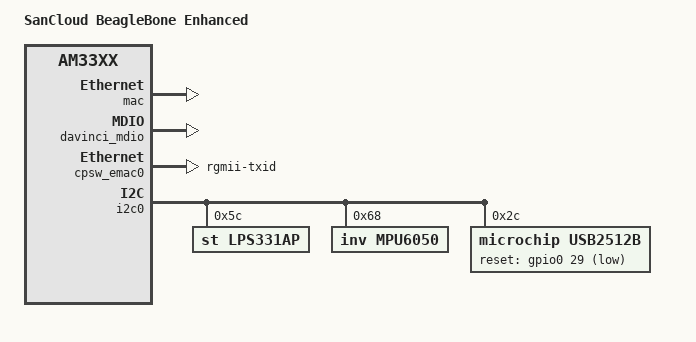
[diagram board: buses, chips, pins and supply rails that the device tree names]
/*
 * Copyright (C) 2012 Texas Instruments Incorporated - http://www.ti.com/
 *
 * This program is free software; you can redistribute it and/or modify
 * it under the terms of the GNU General Public License version 2 as
 * published by the Free Software Foundation.
 */
/dts-v1/;

#include "am33xx.dtsi"
#include "am335x-bone-common.dtsi"
#include "am335x-boneblack-common.dtsi"

/ {
	model = "SanCloud BeagleBone Enhanced";
	compatible = "sancloud,am335x-boneenhanced", "ti,am335x-bone-black", "ti,am335x-bone", "ti,am33xx";
};

&cpu0_opp_table {
	/*
	 * All PG 2.0 silicon may not support 1GHz but some of the early
	 * BeagleBone Blacks have PG 2.0 silicon which is guaranteed
	 * to support 1GHz OPP so enable it for PG 2.0 on this board.
	 */
	oppnitro-1000000000 {
		opp-supported-hw = <0x06 0x0100>;
	};
};

&am33xx_pinmux {
	pinctrl-names = "default";

	cpsw_default: cpsw_default {
		pinctrl-single,pins = <
			/* Slave 1 */
			AM33XX_IOPAD(0x914, PIN_OUTPUT_PULLDOWN | MUX_MODE2)	/* mii1_txen.rgmii1_tctl */
			AM33XX_IOPAD(0x918, PIN_INPUT_PULLDOWN | MUX_MODE2)	/* mii1_rxdv.rgmii1_rctl */
			AM33XX_IOPAD(0x91c, PIN_OUTPUT_PULLDOWN | MUX_MODE2)	/* mii1_txd3.rgmii1_td3 */
			AM33XX_IOPAD(0x920, PIN_OUTPUT_PULLDOWN | MUX_MODE2)	/* mii1_txd2.rgmii1_td2 */
			AM33XX_IOPAD(0x924, PIN_OUTPUT_PULLDOWN | MUX_MODE2)	/* mii1_txd1.rgmii1_td1 */
			AM33XX_IOPAD(0x928, PIN_OUTPUT_PULLDOWN | MUX_MODE2)	/* mii1_txd0.rgmii1_td0 */
			AM33XX_IOPAD(0x92c, PIN_OUTPUT_PULLDOWN | MUX_MODE2)	/* mii1_txclk.rgmii1_tclk */
			AM33XX_IOPAD(0x930, PIN_INPUT_PULLDOWN | MUX_MODE2)	/* mii1_rxclk.rgmii1_rclk */
			AM33XX_IOPAD(0x934, PIN_INPUT_PULLDOWN | MUX_MODE2)	/* mii1_rxd3.rgmii1_rd3 */
			AM33XX_IOPAD(0x938, PIN_INPUT_PULLDOWN | MUX_MODE2)	/* mii1_rxd2.rgmii1_rd2 */
			AM33XX_IOPAD(0x93c, PIN_INPUT_PULLDOWN | MUX_MODE2)	/* mii1_rxd1.rgmii1_rd1 */
			AM33XX_IOPAD(0x940, PIN_INPUT_PULLDOWN | MUX_MODE2)	/* mii1_rxd0.rgmii1_rd0 */
		>;
	};

	cpsw_sleep: cpsw_sleep {
		pinctrl-single,pins = <
			/* Slave 1 reset value */
			AM33XX_IOPAD(0x914, PIN_INPUT_PULLDOWN | MUX_MODE7)
			AM33XX_IOPAD(0x918, PIN_INPUT_PULLDOWN | MUX_MODE7)
			AM33XX_IOPAD(0x91c, PIN_INPUT_PULLDOWN | MUX_MODE7)
			AM33XX_IOPAD(0x920, PIN_INPUT_PULLDOWN | MUX_MODE7)
			AM33XX_IOPAD(0x924, PIN_INPUT_PULLDOWN | MUX_MODE7)
			AM33XX_IOPAD(0x928, PIN_INPUT_PULLDOWN | MUX_MODE7)
			AM33XX_IOPAD(0x92c, PIN_INPUT_PULLDOWN | MUX_MODE7)
			AM33XX_IOPAD(0x930, PIN_INPUT_PULLDOWN | MUX_MODE7)
			AM33XX_IOPAD(0x934, PIN_INPUT_PULLDOWN | MUX_MODE7)
			AM33XX_IOPAD(0x938, PIN_INPUT_PULLDOWN | MUX_MODE7)
			AM33XX_IOPAD(0x93c, PIN_INPUT_PULLDOWN | MUX_MODE7)
			AM33XX_IOPAD(0x940, PIN_INPUT_PULLDOWN | MUX_MODE7)
		>;
	};

	davinci_mdio_default: davinci_mdio_default {
		pinctrl-single,pins = <
			/* MDIO */
			AM33XX_IOPAD(0x948, PIN_INPUT_PULLUP | SLEWCTRL_FAST | MUX_MODE0)	/* mdio_data.mdio_data */
			AM33XX_IOPAD(0x94c, PIN_OUTPUT_PULLUP | MUX_MODE0)			/* mdio_clk.mdio_clk */
		>;
	};

	davinci_mdio_sleep: davinci_mdio_sleep {
		pinctrl-single,pins = <
			/* MDIO reset value */
			AM33XX_IOPAD(0x948, PIN_INPUT_PULLDOWN | MUX_MODE7)
			AM33XX_IOPAD(0x94c, PIN_INPUT_PULLDOWN | MUX_MODE7)
		>;
	};

	usb_hub_ctrl: usb_hub_ctrl {
		pinctrl-single,pins = <
			AM33XX_IOPAD(0x944, PIN_OUTPUT_PULLUP | MUX_MODE7)     /* rmii1_refclk.gpio0_29 */
		>;
	};

	mpu6050_pins: pinmux_mpu6050_pins {
		pinctrl-single,pins = <
			AM33XX_IOPAD(0x968, PIN_INPUT | MUX_MODE7)    /* uart0_ctsn.gpio1_8 */
		>;
	};

	lps3331ap_pins: pinmux_lps3331ap_pins {
		pinctrl-single,pins = <
			AM33XX_IOPAD(0x868, PIN_INPUT | MUX_MODE7)     /* gpmc_a10.gpio1_26 */
		>;
	};
};

&mac {
	pinctrl-names = "default", "sleep";
	pinctrl-0 = <&cpsw_default>;
	pinctrl-1 = <&cpsw_sleep>;
	status = "okay";
};

&davinci_mdio {
	pinctrl-names = "default", "sleep";
	pinctrl-0 = <&davinci_mdio_default>;
	pinctrl-1 = <&davinci_mdio_sleep>;
	status = "okay";
};

&cpsw_emac0 {
	phy_id = <&davinci_mdio>, <0>;
	phy-mode = "rgmii-txid";
};

&i2c0 {
	lps331ap: lps331ap@5C {
		compatible = "st,lps331ap";
		reg = <0x5C>;
		interrupts = <0>, <1>;
	};

	mpu6050: mpu6050@68 {
		compatible = "inv,mpu6050";
		reg = <0x68>;
		orientation = <0xff 0 0 0 1 0 0 0 0xff>;
		interrupts = <2 1>;
	};

	usb2512b@2c {
		compatible = "microchip,usb2512b";
		reg = <0x2c>;
		reset-gpios = <&gpio0 29 GPIO_ACTIVE_LOW>;
	};
};
